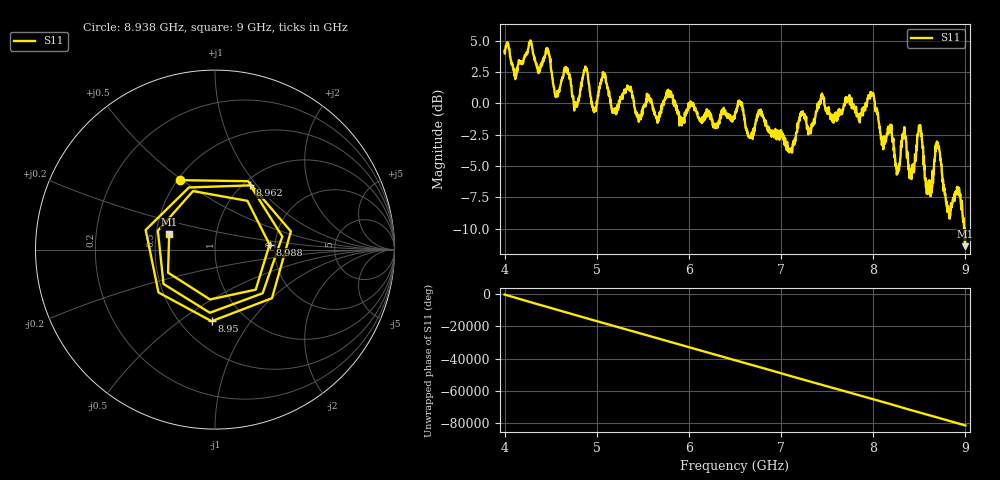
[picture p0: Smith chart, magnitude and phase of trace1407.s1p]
! Created with skrf 1.8.0 (http://scikit-rf.org).
# Hz S RI R 50.0
!freq ReS11 ImS11
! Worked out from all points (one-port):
!   1601 points, 4 GHz to 9 GHz, reference 50 ohm
!   lowest |S11| = -11.4 dB at 9 GHz (marker M1), VSWR 1.74, Z = 29.3 + j5.35 ohm
!   |S11| at or under -10 dB: 8.985881 GHz to 8.990548 GHz (4.667 MHz wide, 0.0519 % of centre); 8.991144 GHz to end of sweep
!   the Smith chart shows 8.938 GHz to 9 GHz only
!   S11 on the Smith chart (normalised r, x): 8.938 GHz: 0.51, +0.49; 8.95 GHz: 0.70, -0.67; 8.962 GHz: 1.08, +0.92; 8.988 GHz: 1.87, +0.12; 9 GHz: 0.59, +0.11
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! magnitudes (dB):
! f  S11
! 4 GHz  4.2
! 4.466 GHz  4.4
! 4.556 GHz  0.5
! 4.625 GHz  2.1
! 4.772 GHz  -0.1
! 4.878 GHz  2.9
! 4.966 GHz  -0.6
! 5.072 GHz  2.4
! 5.25 GHz  0.2
! 5.875 GHz  -0.8
! 6.5 GHz  -0.8
! 7.125 GHz  -3.5
! 7.441 GHz  0.6
! 7.75 GHz  0.2
! 7.991 GHz  0.8
! 8.256 GHz  -5.7
! 8.331 GHz  -2.3
! 8.375 GHz  -4.3
! 8.419 GHz  -5.5
! 8.503 GHz  -2.1
! 8.597 GHz  -7.2
! 8.7 GHz  -3.1
! 8.812 GHz  -8.2
! 8.938 GHz  -7.3
! 8.95 GHz  -8.0
! 8.962 GHz  -7.8
! 8.988 GHz  -10.3
! 9 GHz  -11.4
